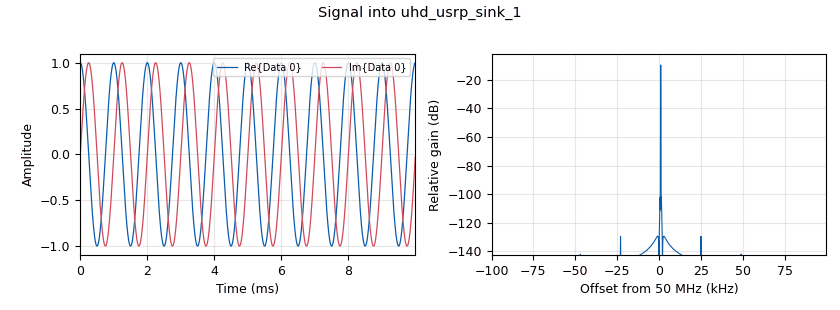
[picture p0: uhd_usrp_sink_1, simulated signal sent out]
<?xml version='1.0' encoding='utf-8'?>
<?grc format='1' created='3.7.13'?>
<flow_graph>
<block>
<key>options</key>
<param><key>id</key><value>ConfiguracionUSRP</value></param>
<param><key>author</key><value>Jhon Sandoval - Juliana Pineda</value></param>
<param><key>generate_options</key><value>qt_gui</value></param>
<param><key>title</key><value>ConfiguracionUSRP</value></param>
</block>
<block>
<key>variable_qtgui_range</key>
<param><key>id</key><value>A</value></param>
<param><key>value</key><value>1</value></param>
<param><key>label</key><value>Amplitu señal</value></param>
<param><key>orient</key><value>Qt.Horizontal</value></param>
<param><key>start</key><value>0</value></param>
<param><key>step</key><value>0.0001</value></param>
<param><key>stop</key><value>1</value></param>
</block>
<block>
<key>variable_qtgui_range</key>
<param><key>id</key><value>GTX</value></param>
<param><key>value</key><value>1</value></param>
<param><key>label</key><value>Ganacia del TX</value></param>
<param><key>orient</key><value>Qt.Horizontal</value></param>
<param><key>start</key><value>0</value></param>
<param><key>step</key><value>0.0001</value></param>
<param><key>stop</key><value>1</value></param>
</block>
<block>
<key>variable_qtgui_range</key>
<param><key>id</key><value>fc</value></param>
<param><key>value</key><value>50000000</value></param>
<param><key>label</key><value>Frecuencia Portadora</value></param>
<param><key>orient</key><value>Qt.Horizontal</value></param>
<param><key>start</key><value>50000000</value></param>
<param><key>step</key><value>1000000</value></param>
<param><key>stop</key><value>2200000000</value></param>
</block>
<block>
<key>variable</key>
<param><key>id</key><value>samp_rate</value></param>
<param><key>value</key><value>200000</value></param>
</block>
<block>
<key>analog_sig_source_x</key>
<param><key>id</key><value>analog_sig_source_x_0</value></param>
<param><key>amp</key><value>A</value></param>
<param><key>freq</key><value>1000</value></param>
<param><key>offset</key><value>0</value></param>
<param><key>type</key><value>complex</value></param>
<param><key>samp_rate</key><value>samp_rate</value></param>
<param><key>waveform</key><value>analog.GR_COS_WAVE</value></param>
</block>
<block>
<key>uhd_usrp_sink</key>
<param><key>id</key><value>uhd_usrp_sink_1</value></param>
<param><key>ant0</key><value></value></param>
<param><key>center_freq0</key><value>fc</value></param>
<param><key>norm_gain0</key><value>False</value></param>
<param><key>gain0</key><value>GTX</value></param>
<param><key>clock_rate</key><value>0.0</value></param>
<param><key>dev_args</key><value>""</value></param>
<param><key>type</key><value>fc32</value></param>
<param><key>samp_rate</key><value>samp_rate</value></param>
<param><key>hide_cmd_port</key><value>False</value></param>
<param><key>hide_lo_controls</key><value>True</value></param>
<param><key>sync</key><value>pc_clock</value></param>
<param><key>len_tag_name</key><value></value></param>
</block>
<connection><source_block_id>analog_sig_source_x_0</source_block_id><sink_block_id>uhd_usrp_sink_1</sink_block_id><source_key>0</source_key><sink_key>0</sink_key></connection>
</flow_graph>
